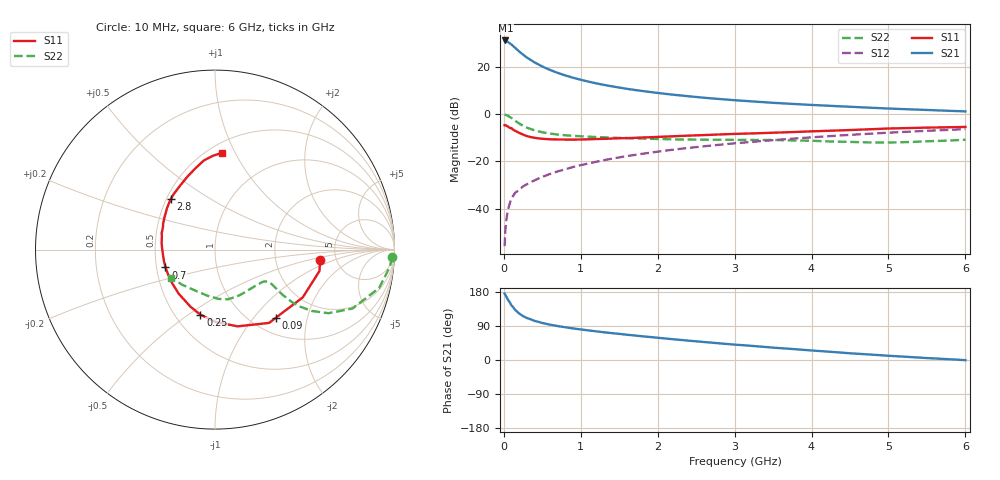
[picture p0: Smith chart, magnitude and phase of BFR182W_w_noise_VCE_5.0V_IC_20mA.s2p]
! Infineon Technologies  Discrete & RF Semiconductors
! BFR182W
! VCE =  5.0 V,  IC =  20 mA
! Common Emitter S-Parameters:  Jan 2017
# GHz  S  MA  R  50
!  f  S11  S21  S12  S22
! GHz  MAG  ANG  MAG  ANG  MAG  ANG  MAG  ANG
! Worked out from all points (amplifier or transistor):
!   77 points, 10 MHz to 6 GHz, reference 50 ohm
!   highest |S21| = 31.3 dB at 20 MHz (marker M1)
!   |S21| within 3 dB of that: start of sweep to 142.4 MHz
!   unconditionally stable (mu >= 1): 843.6 MHz to 2.347 GHz
!   at 130 MHz: K = 0.40, MSG = 31.4 dB, |S12| = -34.1 dB
!   at 2.2 GHz: K = 1.01, MAG = 11.1 dB, |S12| = -15.0 dB
!   at 6 GHz: K = 0.87, MSG = 3.8 dB, |S12| = -6.3 dB
!   lowest NFmin = 1.41 dB at 450 MHz
!   S11 on the Smith chart (normalised r, x): 10 MHz: 3.73, -0.69; 90 MHz: 1.27, -1.31; 250 MHz: 0.66, -0.56; 700 MHz: 0.56, -0.12; 2.8 GHz: 0.53, +0.34; 6 GHz: 0.58, +0.89
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0.01  0.5895 -5.9  36.78 175.4  0.0016 84.7  0.9863 -2.5
0.02  0.5941 -11.6  36.87 171.7  0.0036 95.4  0.9797 -5.5
0.05  0.5569 -28.5  34.79 160.2  0.0088 76.1  0.9391 -13.2
0.09  0.5091 -48.3  30.89 147.5  0.0149 73.4  0.8524 -21.0
0.1  0.5075 -53.6  30.19 143.9  0.0164 73.0  0.8335 -23.2
0.15  0.4457 -73.6  25.47 131.6  0.0219 66.8  0.7245 -29.3
0.2  0.4035 -89.4  21.52 122.7  0.0249 65.1  0.6375 -32.4
0.25  0.3718 -102.7  18.44 115.7  0.0297 63.5  0.5724 -33.8
0.3  0.3461 -113.3  15.98 110.8  0.033 64.1  0.521 -34.3
0.4  0.3183 -129.4  12.6 103.1  0.0399 65.8  0.4558 -33.8
0.5  0.3032 -142.1  10.32 97.7  0.0471 66.7  0.4162 -32.9
0.6  0.2958 -151.8  8.748 93.3  0.0544 67.6  0.3905 -32.0
0.7  0.2932 -160.2  7.567 89.6  0.0617 69.1  0.373 -31.4
0.9  0.291 -172.4  5.962 83.3  0.0764 69.9  0.3504 -31.2
1.1  0.2958 177.4  4.942 78.1  0.0909 70.1  0.3365 -31.9
1.5  0.3113 162.6  3.689 68.9  0.122 69.4  0.3164 -35.6
2.1  0.3369 145.8  2.723 56.8  0.1696 66.4  0.2974 -45.5
2.8  0.3741 131.2  2.113 44.0  0.226 61.7  0.2889 -60.6
3.1  0.3885 125.2  1.943 39.2  0.2506 59.3  0.287 -66.9
4.1  0.4411 109.0  1.554 23.7  0.3337 50.8  0.2712 -88.5
5.1  0.5047 95.9  1.308 10.0  0.4158 41.3  0.2546 -119.8
6  0.5404 85.9  1.154 -0.4  0.4854 32.2  0.2892 -147.2
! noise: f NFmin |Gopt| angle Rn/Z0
0.45  1.41  0.11  -176  0.15
0.9  1.49  0.11  -171  0.15
1.9  2  0.28  -142  0.16
2.4  2.26  0.29  -128  0.26
